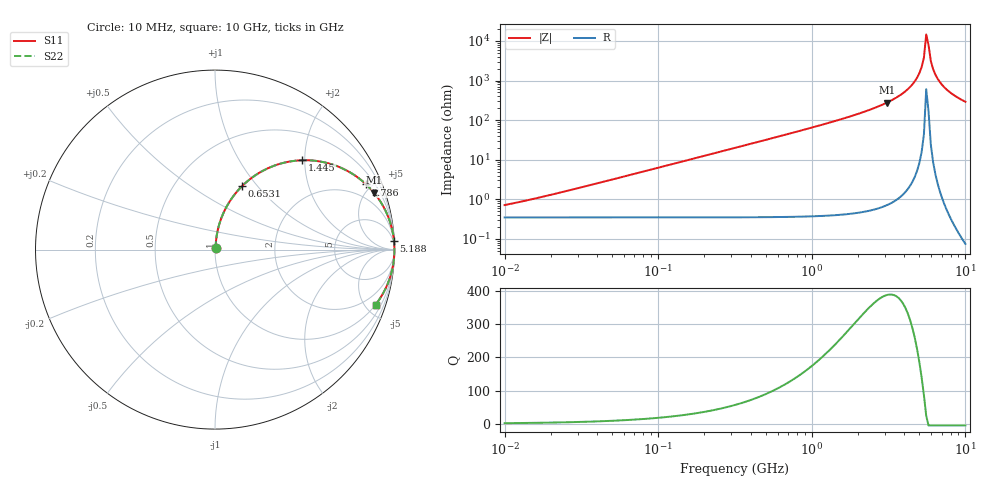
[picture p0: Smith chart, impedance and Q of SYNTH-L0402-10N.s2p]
! Manufacturer: Synthetic (not a real part)
! Synthetic example generated by SmithChart.Online from an equivalent circuit.
! Not measured data and not a manufacturer file.
! Circuit: L 1e-8 H with R 0.35 ohm in series, Cp 8e-14 F across
! Fixture: series-through
# MHZ S RI R 50
! f S11 S21 S12 S22
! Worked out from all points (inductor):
!   201 points, 10 MHz to 10 GHz, reference 50 ohm
!   read as one part in series: L = 10 nH near 16.79 MHz
!   highest Q = 387 at 3.09 GHz (marker M1), where L = 14.3 nH
!   self-resonance near 5.559 GHz
!   S11 on the Smith chart (normalised r, x): 10 MHz: 1.01, +0.01; 653.1 MHz: 1.01, +0.83; 1.445 GHz: 1.01, +1.94; 2.786 GHz: 1.01, +4.64; 5.188 GHz: 1, +43; 10 GHz: 1.00, -5.82
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10  0.00353 0.00624  0.9965 -0.00624  0.9965 -0.00624  0.00353 0.00624
32.35937  0.0039 0.0202  0.9961 -0.0202  0.9961 -0.0202  0.0039 0.0202
101.1579  0.00747 0.0629  0.9925 -0.0629  0.9925 -0.0629  0.00747 0.0629
316.2278  0.0413 0.1904  0.9587 -0.1904  0.9587 -0.1904  0.0413 0.1904
653.1306  0.1497 0.3525  0.8503 -0.3525  0.8503 -0.3525  0.1497 0.3525
1023.293  0.3076 0.4587  0.6924 -0.4587  0.6924 -0.4587  0.3076 0.4587
1445.44  0.486 0.4977  0.514 -0.4977  0.514 -0.4977  0.486 0.4977
1972.423  0.6658 0.4701  0.3342 -0.4701  0.3342 -0.4701  0.6658 0.4701
2786.121  0.8426 0.3629  0.1574 -0.3629  0.1574 -0.3629  0.8426 0.3629
3090.295  0.8848 0.318  0.1152 -0.318  0.1152 -0.318  0.8848 0.318
3198.895  0.8975 0.302  0.1025 -0.302  0.1025 -0.302  0.8975 0.302
4365.158  0.9789 0.1421  0.0211 -0.1421  0.0211 -0.1421  0.9789 0.1421
4841.724  0.9924 0.0847  0.0076 -0.0847  0.0076 -0.0847  0.9924 0.0847
5188  0.9976 0.0459  0.00244 -0.0459  0.00244 -0.0459  0.9976 0.0459
5370.318  0.999 0.0264  0.001 -0.0264  0.001 -0.0264  0.999 0.0264
5559.043  0.9997 0.00687  0.000334 -0.00687  0.000334 -0.00687  0.9997 0.00687
5754.399  0.9996 -0.0127  0.000428 0.0127  0.000428 0.0127  0.9996 -0.0127
5956.621  0.9987 -0.0322  0.00129 0.0322  0.00129 0.0322  0.9987 -0.0322
6165.95  0.9971 -0.0517  0.00291 0.0517  0.00291 0.0517  0.9971 -0.0517
6606.934  0.9916 -0.0904  0.00845 0.0904  0.00845 0.0904  0.9916 -0.0904
7852.356  0.9643 -0.1851  0.0357 0.1851  0.0357 0.1851  0.9643 -0.1851
10000  0.8944 -0.3072  0.1056 0.3072  0.1056 0.3072  0.8944 -0.3072
